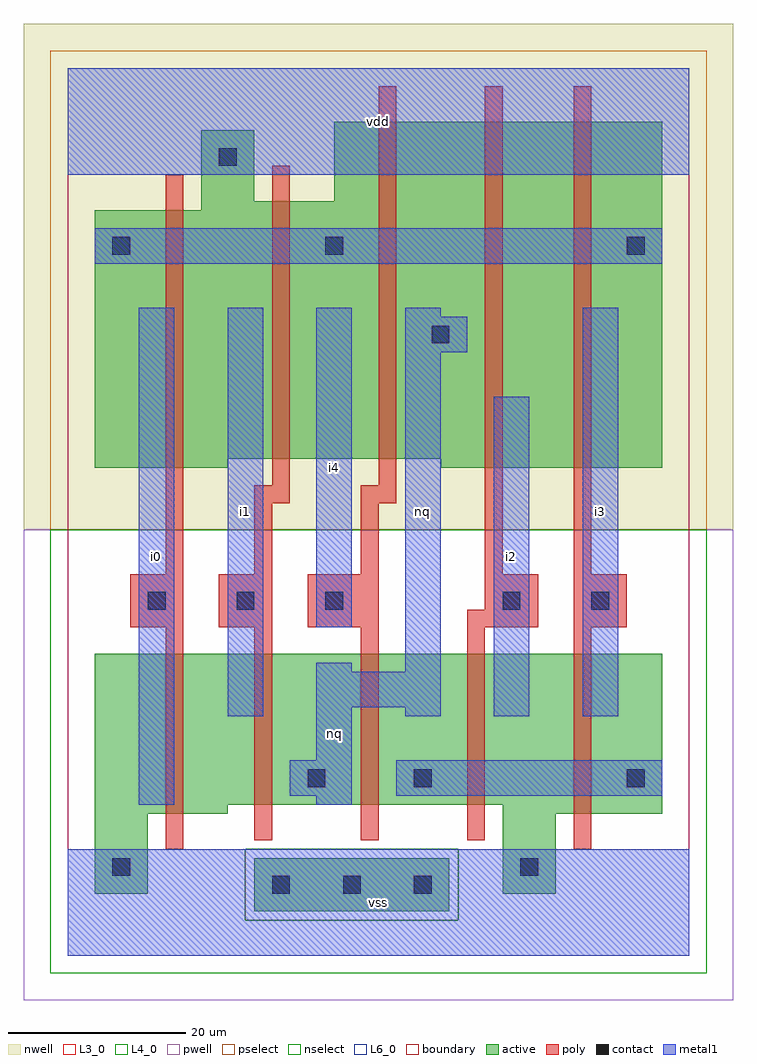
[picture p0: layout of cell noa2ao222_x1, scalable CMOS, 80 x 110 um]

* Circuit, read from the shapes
.subckt noa2ao222_x1 i0 i1 i2 i3 i4 nq vdd vss
M1 n1 i0 vss vss nfet w=18u l=2u
M2 nq i1 n1 vss nfet w=17u l=2u
M3 n2 i4 nq vss nfet w=17u l=2u
M4 vss i2 n2 vss nfet w=17u l=2u
M5 n2 i3 vss vss nfet w=18u l=2u
M6 vdd i0 n3 n4 pfet w=29u l=2u
M7 n3 i1 vdd n4 pfet w=29u l=2u
M8 nq i4 n3 n4 pfet w=38u l=2u
M9 n5 i2 nq n4 pfet w=39u l=2u
M10 n3 i3 n5 n4 pfet w=39u l=2u
.ends

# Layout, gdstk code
import gdstk
lib = gdstk.Library(unit=1e-6, precision=1e-09)
def R(c, l, rs):  # rectangles x0, y0, x1, y1
    for r in rs: c.add(gdstk.rectangle(r[:2], r[2:], *l))
def A(c, l, x, y, w, h, nx, ny, dx, dy):  # array of equal rectangles
    R(c, l, [(x+i*dx, y+j*dy, x+i*dx+w, y+j*dy+h) for i in range(nx) for j in range(ny)])
L3_0 = (3, 0)
L4_0 = (4, 0)
L6_0 = (6, 0)
contact = (25, 0)
pwell = (41, 0)
nwell = (42, 0)
active = (43, 0)
pselect = (44, 0)
nselect = (45, 0)
poly = (46, 0)
metal1 = (49, 0)
boundary = (63, 0)

noa2ao222_x1 = lib.new_cell('noa2ao222_x1')
R(noa2ao222_x1, L3_0, [(3,7,9,16), (49,7,55,16), (3,16,18,17), (49,16,67,17), (3,17,67,34)])
R(noa2ao222_x1, L4_0, [(3,55,18,56), (42,55,67,56), (3,56,67,84), (15,84,67,85), (15,85,21,93), (30,85,67,94)])
R(noa2ao222_x1, L6_0, [(21,5,43,11)])
A(noa2ao222_x1, contact, 23, 7, 2, 2, 3, 1, 8, 0)
A(noa2ao222_x1, contact, 9, 39, 2, 2, 3, 1, 10, 0)
R(noa2ao222_x1, contact, [(5,9,7,11), (51,9,53,11), (27,19,29,21), (39,19,41,21), (63,19,65,21), (49,39,51,41), (59,39,61,41), (41,69,43,71), (5,79,7,81), (29,79,31,81), (63,79,65,81), (17,89,19,91)])
R(noa2ao222_x1, pwell, [(-5,-5,75,48)])
R(noa2ao222_x1, nwell, [(-5,48,75,105)])
R(noa2ao222_x1, active, [(21,5,43,11), (3,7,9,16), (49,7,55,16), (3,16,18,17), (49,16,67,17), (3,17,67,34), (3,55,18,56), (42,55,67,56), (3,56,67,84), (15,84,67,85), (15,85,21,93), (30,85,67,94)])
R(noa2ao222_x1, pselect, [(20,4,44,12), (-2,48,72,102)])
R(noa2ao222_x1, nselect, [(-2,-2,72,4), (-2,4,20,12), (44,4,72,12), (-2,12,72,48)])
A(noa2ao222_x1, poly, 21, 13, 2, 24, 3, 1, 12, 0)
R(noa2ao222_x1, poly, [(11,12,13,37), (57,12,59,37), (7,37,13,43), (17,37,23,43), (27,37,35,43), (45,37,53,39), (57,37,63,43), (47,39,53,43), (11,43,13,88), (21,43,23,51), (33,43,35,51), (47,43,49,98), (57,43,59,98), (21,51,25,53), (33,51,37,53), (23,53,25,89), (35,53,37,98)])
R(noa2ao222_x1, metal1, [(0,0,70,12), (8,17,12,73), (28,17,32,18), (25,18,32,22), (37,18,67,22), (28,22,32,28), (18,27,22,73), (38,27,42,28), (48,27,52,63), (58,27,62,73), (28,28,42,32), (28,32,32,33), (38,32,42,68), (28,37,32,73), (38,68,45,72), (38,72,42,73), (3,78,67,82), (0,88,70,100)])
R(noa2ao222_x1, boundary, [(0,0,70,100)])
noa2ao222_x1.add(gdstk.Label('i0', (10,45), layer=49, texttype=0))
noa2ao222_x1.add(gdstk.Label('nq', (30,25), layer=49, texttype=0))
noa2ao222_x1.add(gdstk.Label('i1', (20,50), layer=49, texttype=0))
noa2ao222_x1.add(gdstk.Label('i4', (30,55), layer=49, texttype=0))
noa2ao222_x1.add(gdstk.Label('vss', (35,6), layer=49, texttype=0))
noa2ao222_x1.add(gdstk.Label('i2', (50,45), layer=49, texttype=0))
noa2ao222_x1.add(gdstk.Label('nq', (40,50), layer=49, texttype=0))
noa2ao222_x1.add(gdstk.Label('vdd', (35,94), layer=49, texttype=0))
noa2ao222_x1.add(gdstk.Label('i3', (60,50), layer=49, texttype=0))

lib.write_gds('noa2ao222_x1.gds')
